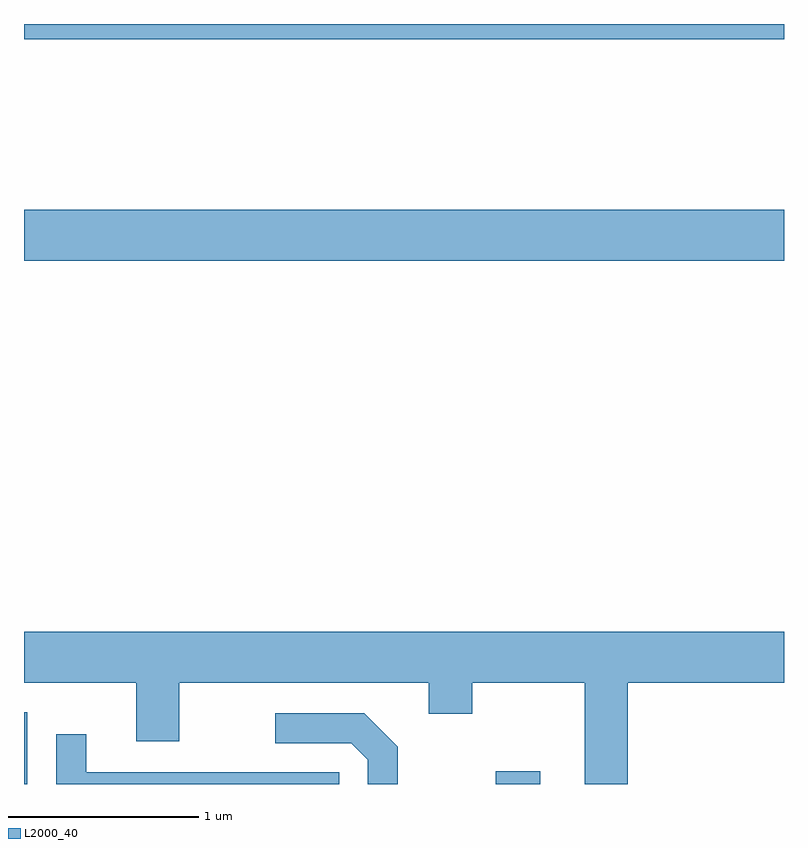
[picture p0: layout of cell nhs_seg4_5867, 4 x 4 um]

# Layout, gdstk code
import gdstk
lib = gdstk.Library(unit=1e-6, precision=1e-09)
def R(c, l, rs):  # rectangles x0, y0, x1, y1
    for r in rs: c.add(gdstk.rectangle(r[:2], r[2:], *l))
def P(c, l, *ps):  # polygons
    for p in ps: c.add(gdstk.Polygon(p, *l))
L2000_40 = (2000, 40)

nhs_seg4_5867 = lib.new_cell('nhs_seg4_5867')
R(nhs_seg4_5867, L2000_40, [(357.611,1291.982,357.629,1292.359), (360.093,1291.982,360.329,1292.049), (357.611,1294.736,361.611,1295.004), (357.611,1295.901,361.611,1295.982)])
P(nhs_seg4_5867, L2000_40, [(360.789,1292.516),(361.611,1292.516),(361.611,1292.784),(357.611,1292.784),(357.611,1292.516),(358.201,1292.516),(358.201,1292.206),(358.429,1292.206),(358.429,1292.516),(359.741,1292.516),(359.741,1292.351),(359.969,1292.351),(359.969,1292.516),(360.561,1292.516),(360.561,1291.982),(360.789,1291.982)],
  [(359.579,1292.177),(359.402,1292.354),(358.933,1292.354),(358.933,1292.196),(359.334,1292.196),(359.421,1292.109),(359.421,1291.982),(359.579,1291.982)],
  [(359.269,1292.044),(357.939,1292.044),(357.939,1292.243),(357.781,1292.243),(357.781,1291.982),(359.269,1291.982)])

lib.write_gds('nhs_seg4_5867.gds')
